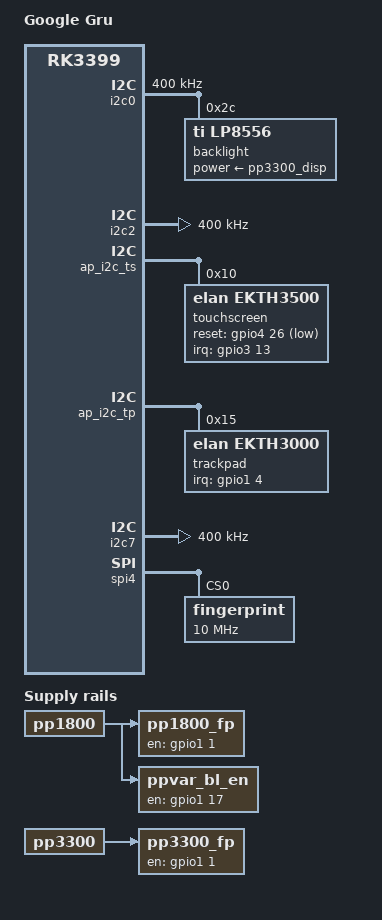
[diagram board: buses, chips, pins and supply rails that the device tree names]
/*
 * Google Gru-Gru Rev 0+ board device tree source
 *
 * Copyright 2016 Google, Inc
 *
 * This file is dual-licensed: you can use it either under the terms
 * of the GPL or the X11 license, at your option. Note that this dual
 * licensing only applies to this file, and not this project as a
 * whole.
 *
 *  a) This file is free software; you can redistribute it and/or
 *     modify it under the terms of the GNU General Public License as
 *     published by the Free Software Foundation; either version 2 of the
 *     License, or (at your option) any later version.
 *
 *     This file is distributed in the hope that it will be useful,
 *     but WITHOUT ANY WARRANTY; without even the implied warranty of
 *     MERCHANTABILITY or FITNESS FOR A PARTICULAR PURPOSE.  See the
 *     GNU General Public License for more details.
 *
 *  Or, alternatively,
 *
 *  b) Permission is hereby granted, free of charge, to any person
 *     obtaining a copy of this software and associated documentation
 *     files (the "Software"), to deal in the Software without
 *     restriction, including without limitation the rights to use,
 *     copy, modify, merge, publish, distribute, sublicense, and/or
 *     sell copies of the Software, and to permit persons to whom the
 *     Software is furnished to do so, subject to the following
 *     conditions:
 *
 *     The above copyright notice and this permission notice shall be
 *     included in all copies or substantial portions of the Software.
 *
 *     THE SOFTWARE IS PROVIDED "AS IS", WITHOUT WARRANTY OF ANY KIND,
 *     EXPRESS OR IMPLIED, INCLUDING BUT NOT LIMITED TO THE WARRANTIES
 *     OF MERCHANTABILITY, FITNESS FOR A PARTICULAR PURPOSE AND
 *     NONINFRINGEMENT. IN NO EVENT SHALL THE AUTHORS OR COPYRIGHT
 *     HOLDERS BE LIABLE FOR ANY CLAIM, DAMAGES OR OTHER LIABILITY,
 *     WHETHER IN AN ACTION OF CONTRACT, TORT OR OTHERWISE, ARISING
 *     FROM, OUT OF OR IN CONNECTION WITH THE SOFTWARE OR THE USE OR
 *     OTHER DEALINGS IN THE SOFTWARE.
 */

/dts-v1/;
#include "rk3399-gru.dtsi"

/ {
	model = "Google Gru";
	compatible = "google,gru-rev15", "google,gru-rev14",
		     "google,gru-rev13", "google,gru-rev12",
		     "google,gru-rev11", "google,gru-rev10",
		     "google,gru-rev9", "google,gru-rev8",
		     "google,gru-rev7", "google,gru-rev6",
		     "google,gru-rev5", "google,gru-rev4",
		     "google,gru-rev3", "google,gru-rev2",
		     "google,gru-rev1", "google,gru-rev0",
		     "google,gru", "rockchip,rk3399";

	// TODO: Model:
	// - pp1200_mipi_cam
	// - pp1800_mipi_cam
	// - pp2800_mipi_cam

	/* pp1800 children */

	pp1800_fp: pp1800-fp {
		compatible = "regulator-fixed";
		regulator-name = "pp1800_fp";
		pinctrl-names = "default";
		pinctrl-0 = <&fp_en>;

		enable-active-high;
		gpio = <&gpio1 1 GPIO_ACTIVE_HIGH>;

		regulator-always-on;		// For bringup???
		regulator-boot-on;		// For bringup???

		vin-supply = <&pp1800>;
	};

	ppvar_bl_en: ppvar-bl-en {
		compatible = "regulator-fixed";
		regulator-name = "ppvar_bl_en";
		pinctrl-names = "default";
		pinctrl-0 = <&bl_en>;

		// TODO: something should actually control this GPIO
		// http://crosbug.com/p/53817
		enable-active-high;
		gpio = <&gpio1 17 GPIO_ACTIVE_HIGH>;

		regulator-always-on;		// For bringup???
		regulator-boot-on;		// For bringup???

		vin-supply = <&pp1800>;
	};

	/* pp3300 children */

	pp3300_fp: pp3300-fp {
		compatible = "regulator-fixed";
		regulator-name = "pp3300_fp";
		/* NOTE: fp_en pinctrl in pp1800_fp */

		enable-active-high;
		gpio = <&gpio1 1 GPIO_ACTIVE_HIGH>;

		regulator-always-on;		// For bringup???
		regulator-boot-on;		// For bringup???

		vin-supply = <&pp3300>;
	};
};

ap_i2c_dvs: &i2c0 {
	status = "okay";

	clock-frequency = <400000>;

	/* These are relatively safe rise/fall times; TODO: measure */
	i2c-scl-falling-time-ns = <50>;
	i2c-scl-rising-time-ns = <300>;

	/* LP8556 */
	backlight: backlight@2c {
		compatible = "ti,lp8556";
		reg = <0x2c>;

		bl-name = "lcd-bl";

		dev-ctrl = /bits/ 8 <0x85>;
		init-brt = /bits/ 8 <0x80>;

		power-supply = <&pp3300_disp>;
	};
};

ap_i2c_cam: &i2c2 {
	status = "okay";

	clock-frequency = <400000>;

	/* These are relatively safe rise/fall times; TODO: measure */
	i2c-scl-falling-time-ns = <50>;
	i2c-scl-rising-time-ns = <300>;

	// TODO: add MIPI camera node
};

&ap_i2c_ts {
	touchscreen: touchscreen@10 {
		compatible = "elan,ekth3500";
		reg = <0x10>;

		pinctrl-names = "default";
		pinctrl-0 = <&touch_int_l &touch_reset_l>;

		interrupt-parent = <&gpio3>;
		interrupts = <13 IRQ_TYPE_EDGE_FALLING>;

		reset-gpios = <&gpio4 26 GPIO_ACTIVE_LOW>;
	};
};

&ap_i2c_tp {
	trackpad: trackpad@15 {
		compatible = "elan,ekth3000";
		reg = <0x15>;

		pinctrl-names = "default";
		pinctrl-0 = <&trackpad_int_l>;

		interrupt-parent = <&gpio1>;
		interrupts = <4 IRQ_TYPE_EDGE_FALLING>;

		wakeup-source;
	};
};

ap_i2c_nfc: &i2c7 {
	status = "okay";

	clock-frequency = <400000>;

	/* These are relatively safe rise/fall times; TODO: measure */
	i2c-scl-falling-time-ns = <50>;
	i2c-scl-rising-time-ns = <300>;

	// TODO: add NFC module
};

// TODO: For now disable hs400 until it works properly
&sdhci {
	/delete-property/mmc-hs400-1_8v;
	/delete-property/mmc-hs400-enhanced-strobe;
};

&spi4 {
	status = "okay";

	fingerprint@0 {
		// TODO: determine a proper description; kernel complains
		// loudly about 'spidev' in DTS
		//compatible = "spidev";
		spi-max-frequency = <10000000>;
		reg = <0>;
	};
};

/* PINCTRL: always below everything else */

&pinctrl {
	discrete-regulators {
		fp_en: fp-en {
			rockchip,pins = <RK_GPIO1 1 RK_FUNC_GPIO
					 &pcfg_pull_none>;
		};
	};
};

/* DON'T PUT ANYTHING BELOW HERE.  PUT IT ABOVE PINCTRL */
/* DON'T PUT ANYTHING BELOW HERE.  PUT IT ABOVE PINCTRL */
/* DON'T PUT ANYTHING BELOW HERE.  PUT IT ABOVE PINCTRL */
